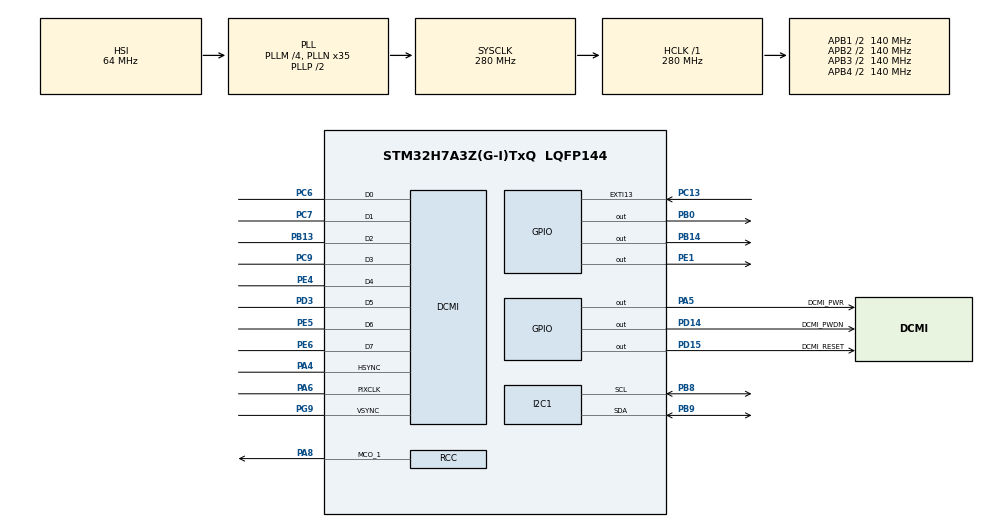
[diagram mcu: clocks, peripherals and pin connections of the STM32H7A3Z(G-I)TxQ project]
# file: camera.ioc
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CORTEX_M7.default_mode_Activation=1
DCMI.HSPolarity=DCMI_HSPOLARITY_LOW
DCMI.PCKPolarity=DCMI_PCKPOLARITY_RISING
DCMI.VSPolarity=DCMI_VSPOLARITY_HIGH
Dma.DCMI.0.Direction=DMA_PERIPH_TO_MEMORY
Dma.DCMI.0.EventEnable=DISABLE
Dma.DCMI.0.FIFOMode=DMA_FIFOMODE_ENABLE
Dma.DCMI.0.FIFOThreshold=DMA_FIFO_THRESHOLD_FULL
Dma.DCMI.0.Instance=DMA2_Stream1
Dma.DCMI.0.MemBurst=DMA_MBURST_SINGLE
Dma.DCMI.0.MemDataAlignment=DMA_MDATAALIGN_WORD
Dma.DCMI.0.MemInc=DMA_MINC_ENABLE
Dma.DCMI.0.Mode=DMA_CIRCULAR
Dma.DCMI.0.PeriphBurst=DMA_PBURST_SINGLE
Dma.DCMI.0.PeriphDataAlignment=DMA_PDATAALIGN_WORD
Dma.DCMI.0.PeriphInc=DMA_PINC_DISABLE
Dma.DCMI.0.Polarity=HAL_DMAMUX_REQ_GEN_RISING
Dma.DCMI.0.Priority=DMA_PRIORITY_VERY_HIGH
Dma.DCMI.0.RequestNumber=1
Dma.DCMI.0.SignalID=NONE
Dma.DCMI.0.SyncEnable=DISABLE
Dma.DCMI.0.SyncPolarity=HAL_DMAMUX_SYNC_NO_EVENT
Dma.DCMI.0.SyncRequestNumber=1
Dma.DCMI.0.SyncSignalID=NONE
Dma.Request0=DCMI
I2C1.Timing=0x20B0CCFF
Mcu.Family=STM32H7
Mcu.Name=STM32H7A3Z(G-I)TxQ
Mcu.Package=LQFP144
NUCLEO-H7A3ZI-Q.BUTTON=1
NUCLEO-H7A3ZI-Q.LD1=true
NUCLEO-H7A3ZI-Q.LD2=true
NUCLEO-H7A3ZI-Q.LD3=true
NUCLEO-H7A3ZI-Q.VCP=true
NVIC.DCMI_PSSI_IRQn=true\:0\:0\:false\:false\:true\:true\:true\:true
NVIC.DMA2_Stream1_IRQn=true\:0\:0\:false\:false\:true\:false\:true\:true
NVIC.EXTI15_10_IRQn=true\:0\:0\:false\:false\:true\:false\:true\:true
NVIC.PriorityGroup=NVIC_PRIORITYGROUP_4
PA13.Mode=Serial_Wire
PA13.Signal=DEBUG_JTMS-SWDIO
PA14.Mode=Serial_Wire
PA14.Signal=DEBUG_JTCK-SWCLK
PA4.GPIO_Mode=GPIO_MODE_AF_PP
PA4.GPIO_PuPd=GPIO_NOPULL
PA4.GPIO_Speed=GPIO_SPEED_FREQ_VERY_HIGH
PA4.Mode=Slave_8_bits_External_Synchro
PA4.Signal=DCMI_HSYNC
PA5.GPIO_Label=DCMI_PWR
PA5.GPIO_Speed=GPIO_SPEED_FREQ_VERY_HIGH
PA5.Signal=GPIO_Output
PA6.GPIO_Mode=GPIO_MODE_AF_PP
PA6.GPIO_PuPd=GPIO_NOPULL
PA6.GPIO_Speed=GPIO_SPEED_FREQ_VERY_HIGH
PA6.Mode=Slave_8_bits_External_Synchro
PA6.Signal=DCMI_PIXCLK
PA8.GPIO_Speed=GPIO_SPEED_FREQ_VERY_HIGH
PA8.Mode=Clock-out-1
PA8.Signal=RCC_MCO_1
PB0.Signal=GPIO_Output
PB13.GPIO_Mode=GPIO_MODE_AF_PP
PB13.GPIO_PuPd=GPIO_NOPULL
PB13.GPIO_Speed=GPIO_SPEED_FREQ_VERY_HIGH
PB13.Mode=Slave_8_bits_External_Synchro
PB13.Signal=DCMI_D2
PB14.Signal=GPIO_Output
PB8.GPIO_Mode=GPIO_MODE_AF_OD
PB8.GPIO_Pu=GPIO_PULLUP
PB8.GPIO_Speed=GPIO_SPEED_FREQ_VERY_HIGH
PB8.Mode=I2C
PB8.Signal=I2C1_SCL
PB9.GPIO_Mode=GPIO_MODE_AF_OD
PB9.GPIO_Pu=GPIO_PULLUP
PB9.GPIO_Speed=GPIO_SPEED_FREQ_VERY_HIGH
PB9.Mode=I2C
PB9.Signal=I2C1_SDA
PC13.Signal=GPXTI13
PC14-OSC32_IN.GPIO_Label=OSC32_IN
PC14-OSC32_IN.Signal=RCC_OSC32_IN
PC15-OSC32_OUT.GPIO_Label=OSC32_OUT
PC15-OSC32_OUT.Signal=RCC_OSC32_OUT
PC6.GPIO_Mode=GPIO_MODE_AF_PP
PC6.GPIO_PuPd=GPIO_NOPULL
PC6.GPIO_Speed=GPIO_SPEED_FREQ_VERY_HIGH
PC6.Mode=Slave_8_bits_External_Synchro
PC6.Signal=DCMI_D0
PC7.GPIO_Mode=GPIO_MODE_AF_PP
PC7.GPIO_PuPd=GPIO_NOPULL
PC7.GPIO_Speed=GPIO_SPEED_FREQ_VERY_HIGH
PC7.Mode=Slave_8_bits_External_Synchro
PC7.Signal=DCMI_D1
PC9.GPIO_Mode=GPIO_MODE_AF_PP
PC9.GPIO_PuPd=GPIO_NOPULL
PC9.GPIO_Speed=GPIO_SPEED_FREQ_VERY_HIGH
PC9.Mode=Slave_8_bits_External_Synchro
PC9.Signal=DCMI_D3
PD14.GPIO_Label=DCMI_PWDN
PD14.GPIO_ModeDefaultOutputPP=GPIO_MODE_OUTPUT_PP
PD14.GPIO_PuPd=GPIO_NOPULL
PD14.GPIO_Speed=GPIO_SPEED_FREQ_VERY_HIGH
PD14.PinState=GPIO_PIN_SET
PD14.Signal=GPIO_Output
PD15.GPIO_Label=DCMI_RESET
PD15.GPIO_PuPd=GPIO_NOPULL
PD15.GPIO_Speed=GPIO_SPEED_FREQ_VERY_HIGH
PD15.Signal=GPIO_Output
PD3.GPIO_Mode=GPIO_MODE_AF_PP
PD3.GPIO_PuPd=GPIO_NOPULL
PD3.GPIO_Speed=GPIO_SPEED_FREQ_VERY_HIGH
PD3.Mode=Slave_8_bits_External_Synchro
PD3.Signal=DCMI_D5
PD8.Signal=USART3_TX
PD9.Signal=USART3_RX
PE1.Signal=GPIO_Output
PE4.GPIO_Mode=GPIO_MODE_AF_PP
PE4.GPIO_PuPd=GPIO_NOPULL
PE4.GPIO_Speed=GPIO_SPEED_FREQ_VERY_HIGH
PE4.Mode=Slave_8_bits_External_Synchro
PE4.Signal=DCMI_D4
PE5.GPIO_Mode=GPIO_MODE_AF_PP
PE5.GPIO_PuPd=GPIO_NOPULL
PE5.GPIO_Speed=GPIO_SPEED_FREQ_VERY_HIGH
PE5.Mode=Slave_8_bits_External_Synchro
PE5.Signal=DCMI_D6
PE6.GPIO_Mode=GPIO_MODE_AF_PP
PE6.GPIO_PuPd=GPIO_NOPULL
PE6.GPIO_Speed=GPIO_SPEED_FREQ_VERY_HIGH
PE6.Mode=Slave_8_bits_External_Synchro
PE6.Signal=DCMI_D7
PG9.GPIO_Mode=GPIO_MODE_AF_PP
PG9.GPIO_PuPd=GPIO_NOPULL
PG9.GPIO_Speed=GPIO_SPEED_FREQ_VERY_HIGH
PG9.Mode=Slave_8_bits_External_Synchro
PG9.Signal=DCMI_VSYNC
PH0-OSC_IN.GPIO_Label=PH0-MCU
PH0-OSC_IN.Signal=RCC_OSC_IN
PH1-OSC_OUT.GPIO_Label=PH1-MCU
PH1-OSC_OUT.Signal=RCC_OSC_OUT
ProjectManager.HeapSize=0x200
ProjectManager.StackSize=0x400
ProjectManager.TargetToolchain=STM32CubeIDE
RCC.ADCFreq_Value=129000000
RCC.APB1Freq_Value=140000000
RCC.APB2Freq_Value=140000000
RCC.APB3Freq_Value=140000000
RCC.APB4Freq_Value=140000000
RCC.CDPPRE=RCC_APB3_DIV2
RCC.CDPPRE1=RCC_APB1_DIV2
RCC.CDPPRE2=RCC_APB2_DIV2
RCC.CortexFreq_Value=280000000
RCC.DIVM1=4
RCC.DIVM3=1
RCC.DIVN1=35
RCC.DIVN3=24
RCC.DIVQ1=4
RCC.HCLKFreq_Value=280000000
RCC.HSE_VALUE=8000000
RCC.PLLFRACN=0
RCC.PWR_Regulator_Voltage_Scale=PWR_REGULATOR_VOLTAGE_SCALE0
RCC.RCC_MCO1Source=RCC_MCO1SOURCE_HSI48
RCC.RCC_MCODiv1=RCC_MCODIV_2
RCC.SRDPPRE=RCC_APB4_DIV2
RCC.SYSCLKFreq_VALUE=280000000
RCC.SYSCLKSource=RCC_SYSCLKSOURCE_PLLCLK
RCC.SupplySource=PWR_DIRECT_SMPS_SUPPLY
RCC.USBCLockSelection=RCC_USBCLKSOURCE_HSI48
RCC.USBFreq_Value=48000000
VP_MEMORYMAP_VS_MEMORYMAP.Mode=CurAppReg
VP_NUCLEO-H7A3ZI-Q_VS_BSP_COMMON.Mode=COMMON
board=NUCLEO-H7A3ZI-Q

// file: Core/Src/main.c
/* USER CODE BEGIN Header */
/**
  ******************************************************************************
  * @file           : main.c
  * @brief          : Main program body
  ******************************************************************************
  * @attention
  *
  * Copyright (c) 2024 STMicroelectronics.
  * All rights reserved.
  *
  * This software is licensed under terms that can be found in the LICENSE file
  * in the root directory of this software component.
  * If no LICENSE file comes with this software, it is provided AS-IS.
  *
  ******************************************************************************
  */
/* USER CODE END Header */
#include "main.h"
#include "dcmi.h"
#include "dma.h"
#include "i2c.h"
#include "memorymap.h"
#include "gpio.h"

/* USER CODE BEGIN Includes */
#include <stdbool.h>
#include "ov7670.h"
/* USER CODE END Includes */

/* USER CODE BEGIN PD */

/* ARRAY INIT. FOR SELECTED OUTPUT FORMAT
*****************************************/
#define IMG_SIZE 614400 // VGA = 640 * 480 * 2
//#define IMG_SIZE 202752 // CIF = 352 * 288 * 2
//#define IMG_SIZE 153600 // QVGA = 320 * 240 * 2
//#define IMG_SIZE 50688 // QCIF = 176 * 144 * 2

/* USER CODE END PD */

COM_InitTypeDef BspCOMInit;

void SystemClock_Config(void);
static void MPU_Config(void);

/* USER CODE BEGIN 0 */
volatile bool capture_img = false;
/* USER CODE END 0 */

int main(void)
{

  /* USER CODE BEGIN 1 */
	uint8_t img_buffer[IMG_SIZE];
	HAL_StatusTypeDef status;
  /* USER CODE END 1 */

  /* MPU Configuration--------------------------------------------------------*/
  MPU_Config();

  /* MCU Configuration--------------------------------------------------------*/

  /* Reset of all peripherals, Initializes the Flash interface and the Systick. */
  HAL_Init();

  /* Configure the system clock */
  SystemClock_Config();

  /* Initialize all configured peripherals */
  MX_GPIO_Init();
  MX_DMA_Init();
  MX_DCMI_Init();
  MX_I2C1_Init();

  /* Initialize leds */
  BSP_LED_Init(LED_GREEN);
  BSP_LED_Init(LED_YELLOW);
  BSP_LED_Init(LED_RED);

  /* Initialize USER push-button, will be used to trigger an interrupt each time it's pressed.*/
  BSP_PB_Init(BUTTON_USER, BUTTON_MODE_EXTI);

  /* Initialize COM1 port (115200, 8 bits (7-bit data + 1 stop bit), no parity */
  BspCOMInit.BaudRate   = 115200;
  BspCOMInit.WordLength = COM_WORDLENGTH_8B;
  BspCOMInit.StopBits   = COM_STOPBITS_1;
  BspCOMInit.Parity     = COM_PARITY_NONE;
  BspCOMInit.HwFlowCtl  = COM_HWCONTROL_NONE;
  if (BSP_COM_Init(COM1, &BspCOMInit) != BSP_ERROR_NONE)
  {
    Error_Handler();
  }

  /* Infinite loop */
  /* USER CODE BEGIN WHILE */

  // UNCOMMENT LINE TO SELECT CAMERA MODE
  status = camera_init(&hdcmi, &hi2c1, CAM_VGA, CAM_RGB); 	// WORKS - outputs 640x480
  //status = camera_init(&hdcmi, &hi2c1, CAM_VGA, CAM_YUV); 	// WORKS - outputs 640x480, use for BW
  //status = camera_init(&hdcmi, &hi2c1, CAM_CIF, CAM_RGB); 	// WORKS - outputs 350x480
  //status = camera_init(&hdcmi, &hi2c1, CAM_CIF, CAM_YUV); 	// WORKS - outputs 352x480, use for BW
  //status = camera_init(&hdcmi, &hi2c1, CAM_QVGA, CAM_RGB); 	// WORKS - outputs 313x240
  //status = camera_init(&hdcmi, &hi2c1, CAM_QVGA, CAM_YUV); 	// WORKS - outputs 315x240, use for BW
  //status = camera_init(&hdcmi, &hi2c1, CAM_QCIF, CAM_RGB);	// WORKS - outputs 172x144
  //status = camera_init(&hdcmi, &hi2c1, CAM_QCIF, CAM_YUV);	// WORKS - outputs 174x144, use for BW

  while (1)
  {
	  if (capture_img) {
		  HAL_GPIO_WritePin(GPIOE, GPIO_PIN_1, GPIO_PIN_SET);
		  status |= camera_capture_photo(img_buffer, IMG_SIZE);
		  HAL_GPIO_WritePin(GPIOE, GPIO_PIN_1, GPIO_PIN_RESET);
		  capture_img = false;
	  }
    /* USER CODE END WHILE */

  }
}

void SystemClock_Config(void)
{
  RCC_OscInitTypeDef RCC_OscInitStruct = {0};
  RCC_ClkInitTypeDef RCC_ClkInitStruct = {0};

  /*AXI clock gating */
  RCC->CKGAENR = 0xFFFFFFFF;

  /** Supply configuration update enable
  */
  HAL_PWREx_ConfigSupply(PWR_DIRECT_SMPS_SUPPLY);

  /** Configure the main internal regulator output voltage
  */
  __HAL_PWR_VOLTAGESCALING_CONFIG(PWR_REGULATOR_VOLTAGE_SCALE0);

  while(!__HAL_PWR_GET_FLAG(PWR_FLAG_VOSRDY)) {}

  /** Initializes the RCC Oscillators according to the specified parameters
  * in the RCC_OscInitTypeDef structure.
  */
  RCC_OscInitStruct.OscillatorType = RCC_OSCILLATORTYPE_HSI48|RCC_OSCILLATORTYPE_HSI;
  RCC_OscInitStruct.HSIState = RCC_HSI_DIV1;
  RCC_OscInitStruct.HSICalibrationValue = 64;
  RCC_OscInitStruct.HSI48State = RCC_HSI48_ON;
  RCC_OscInitStruct.PLL.PLLState = RCC_PLL_ON;
  RCC_OscInitStruct.PLL.PLLSource = RCC_PLLSOURCE_HSI;
  RCC_OscInitStruct.PLL.PLLM = 4;
  RCC_OscInitStruct.PLL.PLLN = 35;
  RCC_OscInitStruct.PLL.PLLP = 2;
  RCC_OscInitStruct.PLL.PLLQ = 4;
  RCC_OscInitStruct.PLL.PLLR = 2;
  RCC_OscInitStruct.PLL.PLLRGE = RCC_PLL1VCIRANGE_3;
  RCC_OscInitStruct.PLL.PLLVCOSEL = RCC_PLL1VCOWIDE;
  RCC_OscInitStruct.PLL.PLLFRACN = 0;
  if (HAL_RCC_OscConfig(&RCC_OscInitStruct) != HAL_OK)
  {
    Error_Handler();
  }

  /** Initializes the CPU, AHB and APB buses clocks
  */
  RCC_ClkInitStruct.ClockType = RCC_CLOCKTYPE_HCLK|RCC_CLOCKTYPE_SYSCLK
                              |RCC_CLOCKTYPE_PCLK1|RCC_CLOCKTYPE_PCLK2
                              |RCC_CLOCKTYPE_D3PCLK1|RCC_CLOCKTYPE_D1PCLK1;
  RCC_ClkInitStruct.SYSCLKSource = RCC_SYSCLKSOURCE_PLLCLK;
  RCC_ClkInitStruct.SYSCLKDivider = RCC_SYSCLK_DIV1;
  RCC_ClkInitStruct.AHBCLKDivider = RCC_HCLK_DIV1;
  RCC_ClkInitStruct.APB3CLKDivider = RCC_APB3_DIV2;
  RCC_ClkInitStruct.APB1CLKDivider = RCC_APB1_DIV2;
  RCC_ClkInitStruct.APB2CLKDivider = RCC_APB2_DIV2;
  RCC_ClkInitStruct.APB4CLKDivider = RCC_APB4_DIV2;

  if (HAL_RCC_ClockConfig(&RCC_ClkInitStruct, FLASH_LATENCY_6) != HAL_OK)
  {
    Error_Handler();
  }
  HAL_RCC_MCOConfig(RCC_MCO1, RCC_MCO1SOURCE_HSI48, RCC_MCODIV_2);
}

/* USER CODE BEGIN 4 */
void HAL_GPIO_EXTI_Callback(uint16_t GPIO_Pin)
{
  if(GPIO_Pin == GPIO_PIN_13) {
    capture_img = true;
  }
}
/* USER CODE END 4 */

 /* MPU Configuration */

void MPU_Config(void)
{
  MPU_Region_InitTypeDef MPU_InitStruct = {0};

  /* Disables the MPU */
  HAL_MPU_Disable();

  /** Initializes and configures the Region and the memory to be protected
  */
  MPU_InitStruct.Enable = MPU_REGION_ENABLE;
  MPU_InitStruct.Number = MPU_REGION_NUMBER0;
  MPU_InitStruct.BaseAddress = 0x0;
  MPU_InitStruct.Size = MPU_REGION_SIZE_4GB;
  MPU_InitStruct.SubRegionDisable = 0x87;
  MPU_InitStruct.TypeExtField = MPU_TEX_LEVEL0;
  MPU_InitStruct.AccessPermission = MPU_REGION_NO_ACCESS;
  MPU_InitStruct.DisableExec = MPU_INSTRUCTION_ACCESS_DISABLE;
  MPU_InitStruct.IsShareable = MPU_ACCESS_SHAREABLE;
  MPU_InitStruct.IsCacheable = MPU_ACCESS_NOT_CACHEABLE;
  MPU_InitStruct.IsBufferable = MPU_ACCESS_NOT_BUFFERABLE;

  HAL_MPU_ConfigRegion(&MPU_InitStruct);
  /* Enables the MPU */
  HAL_MPU_Enable(MPU_PRIVILEGED_DEFAULT);

}

void Error_Handler(void)
{
  __disable_irq();
  while (1)
  {
  }
}
